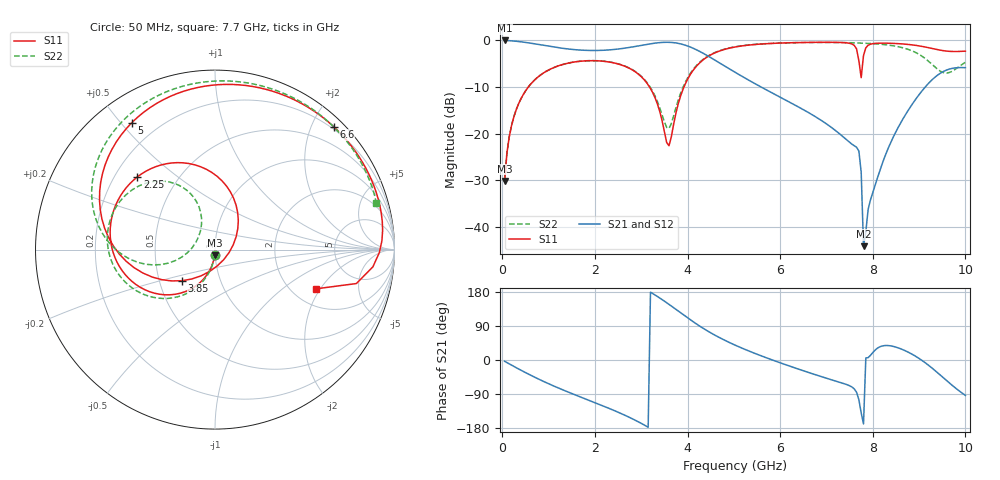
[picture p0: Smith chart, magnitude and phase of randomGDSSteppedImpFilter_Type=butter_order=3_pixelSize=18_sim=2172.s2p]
! freq	dB(S11)	phase(S11)	dB(S12)	phase(S12)
!  dB(S21)	phase(S21)	dB(S22)	phase(S22)
!S-par simulation data
#  GHz  S  DB  R 50
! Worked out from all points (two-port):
!   200 points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, 50 MHz to 10 GHz, reference 50 ohm
!   highest |S21| = -0.01 dB at 50 MHz (marker M1); lowest = -44.1 dB at 7.8 GHz (marker M2)
!   |S21| within 3 dB of the highest: start of sweep to 4.382 GHz
!   lowest |S11| = -30.2 dB at 50 MHz (marker M3), VSWR 1.06, Z = 49.7 - j3.09 ohm
!   |S11| at or under -10 dB: start of sweep to 562.7 MHz; 3.179 GHz to 3.923 GHz (744.2 MHz wide, 21 % of centre)
!   |S22| runs from -30.1 to -0.4 dB; largest |S21 - S12| = 0
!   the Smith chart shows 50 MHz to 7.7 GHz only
!   S11 on the Smith chart (normalised r, x): 50 MHz: 0.99, -0.06; 2.25 GHz: 0.29, +0.37; 3.85 GHz: 0.65, -0.24; 5 GHz: 0.11, +0.54; 6.6 GHz: 0.16, +2.35; 7.7 GHz: 2.66, -1.83
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0.05  -30.15 -93.7  -0.01 -3.4  -0.01 -3.4  -30.14 -93.4
0.2  -18.26 -104.7  -0.09 -13.6  -0.09 -13.6  -18.25 -103.5
0.5  -10.87 -125.2  -0.42 -33.2  -0.42 -33.2  -10.85 -122.2
1.75  -4.41 163.3  -2.11 -100.6  -2.11 -100.6  -4.40 174.8
2.25  -4.55 136.8  -2.08 -124.9  -2.08 -124.9  -4.53 153.1
3.4  -15.24 42.7  -0.47 163.6  -0.47 163.6  -14.44 113.3
3.6  -22.60 -48.9  -0.40 146.8  -0.40 146.8  -18.86 159.1
3.85  -11.94 -136.8  -0.74 124.6  -0.74 124.6  -11.35 -163.9
4.4  -3.71 164.9  -3.11 78.9  -3.11 78.9  -3.61 168.8
5  -1.46 123.2  -6.68 40.7  -6.68 40.7  -1.42 135.9
5.05  -1.37 120.3  -6.97 38.0  -6.97 38.0  -1.33 133.5
6.6  -0.43 46.0  -15.41 -32.4  -15.41 -32.4  -0.44 66.7
6.7  -0.42 41.7  -16.00 -36.4  -16.00 -36.4  -0.43 62.5
7.5  -0.62 3.1  -21.88 -68.0  -21.88 -68.0  -0.49 26.3
7.7  -4.39 -21.2  -23.75 -104.6  -23.75 -104.6  -0.58 16.2
7.75  -7.99 12.8  -28.29 -139.9  -28.29 -139.9  -0.59 13.8
7.8  -3.22 24.6  -44.15 -168.7  -44.15 -168.7  -0.59 11.2
8.35  -0.60 -16.1  -22.75 37.9  -22.75 37.9  -1.01 -22.5
8.95  -1.09 -40.0  -12.30 8.0  -12.30 8.0  -2.72 -78.1
9.4  -1.98 -53.9  -7.45 -33.6  -7.45 -33.6  -6.19 -158.2
9.7  -2.37 -59.5  -6.03 -65.3  -6.03 -65.3  -6.68 123.1
10  -2.30 -65.5  -5.84 -93.4  -5.84 -93.4  -4.69 64.5
